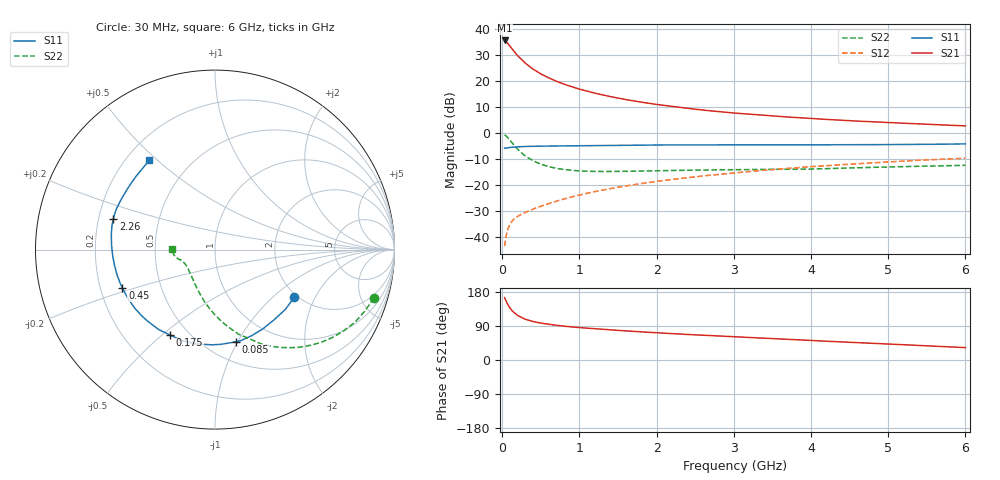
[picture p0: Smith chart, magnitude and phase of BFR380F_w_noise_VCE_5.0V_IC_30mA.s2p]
! Infineon Technologies  Discrete & RF Semiconductors
! BFR380F
! VCE =  5.0 V,  IC =  30 mA
! Common Emitter S-Parameters:  Nov 2015
# GHz  S  MA  R  50
!  f  S11  S21  S12  S22
! GHz  MAG  ANG  MAG  ANG  MAG  ANG  MAG  ANG
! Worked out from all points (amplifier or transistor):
!   206 points, 30 MHz to 6 GHz, reference 50 ohm
!   highest |S21| = 35.4 dB at 30 MHz (marker M1)
!   |S21| within 3 dB of that: start of sweep to 120.1 MHz
!   unconditionally stable (mu >= 1): 1.165 GHz to 4.958 GHz
!   at 200 MHz: K = 0.47, MSG = 30.7 dB, |S12| = -31.9 dB
!   at 1.56 GHz: K = 1.03, MAG = 15.7 dB, |S12| = -20.5 dB
!   at 6 GHz: K = 0.99, MSG = 6.2 dB, |S12| = -9.7 dB
!   lowest NFmin = 1.22 dB at 900 MHz
!   S11 on the Smith chart (normalised r, x): 30 MHz: 1.92, -1.39; 85 MHz: 0.69, -0.98; 175 MHz: 0.40, -0.53; 450 MHz: 0.29, -0.18; 2.26 GHz: 0.26, +0.14; 6 GHz: 0.29, +0.47
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0.03  0.5151 -31.0  59.22 164.4  0.0068 79.1  0.9252 -16.9
0.05  0.5114 -50.1  56.24 154.8  0.0108 72.9  0.8785 -27.4
0.07  0.5213 -66.9  52.12 146.8  0.014 67.6  0.8173 -36.8
0.085  0.5259 -77.2  48.95 141.8  0.016 63.9  0.7693 -43.0
0.1  0.5288 -86.4  45.83 137.1  0.0178 61.3  0.7228 -48.7
0.13  0.5361 -101.5  40.14 129.5  0.0209 57.2  0.6367 -58.3
0.15  0.5394 -110.0  36.87 125.3  0.0223 55.6  0.5872 -63.7
0.175  0.5374 -117.6  33.4 121.7  0.0238 54.3  0.5347 -68.7
0.2  0.5449 -125.2  30.1 117.2  0.0254 53.2  0.4872 -74.7
0.22  0.5448 -129.3  28.14 115.2  0.0264 53.1  0.4573 -77.8
0.3  0.5533 -143.3  21.63 107.4  0.0303 53.4  0.3628 -90.2
0.36  0.5552 -150.1  18.42 103.7  0.0331 54.7  0.3177 -97.3
0.45  0.5585 -157.6  14.97 99.2  0.0372 56.7  0.2714 -106.3
0.7  0.566 -169.7  9.802 91.6  0.0494 61.8  0.2108 -124.7
1.04  0.5729 -178.9  6.669 84.9  0.067 65.6  0.1866 -140.4
1.4  0.58 174.4  4.974 79.4  0.0861 67.5  0.1833 -150.5
2.02  0.5901 166.2  3.492 71.7  0.1194 68.0  0.1893 -158.4
2.26  0.5914 163.4  3.141 68.9  0.1322 67.7  0.1922 -160.2
3.1  0.5932 155.2  2.354 60.3  0.1775 65.8  0.1988 -163.4
4.1  0.5938 145.3  1.856 50.4  0.2318 62.0  0.2058 -164.4
5.1  0.6009 136.0  1.562 41.2  0.2842 57.6  0.2255 -170.1
6  0.6188 126.2  1.368 32.7  0.3285 52.6  0.2403 179.2
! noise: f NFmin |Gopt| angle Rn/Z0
0.45  1.25  0.3  -178  0.08
0.9  1.22  0.33  -179  0.07
1.8  1.42  0.4  -168  0.08
1.9  1.5  0.41  -169  0.08
2.4  1.57  0.43  -159  0.1
3.5  2.16  0.5  -149  0.15
